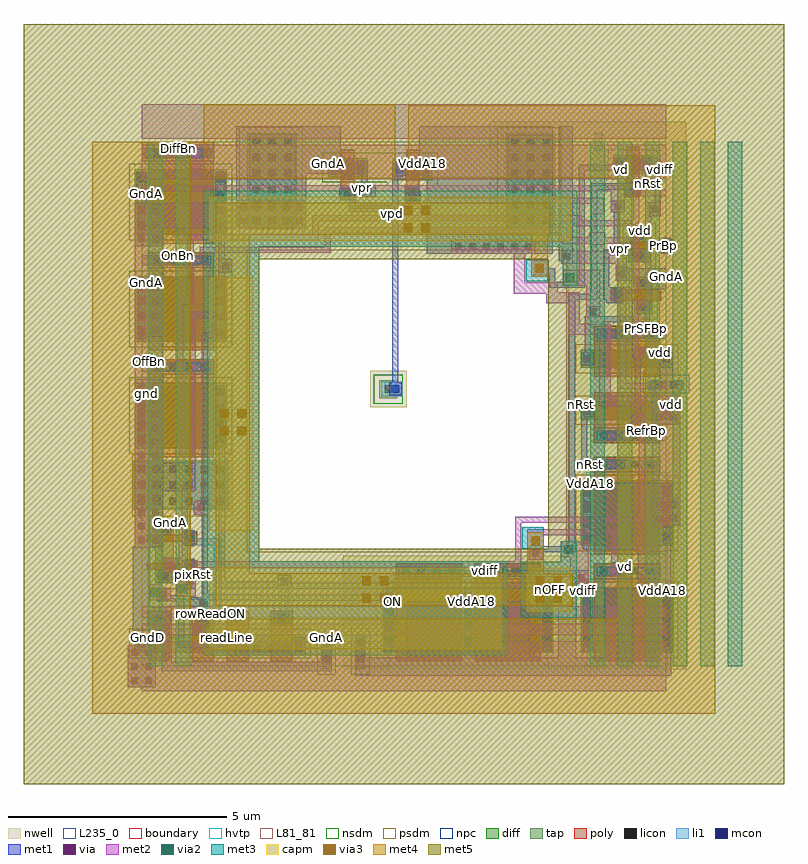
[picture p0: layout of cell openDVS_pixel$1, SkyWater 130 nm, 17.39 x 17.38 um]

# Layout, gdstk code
from math import pi, radians
import gdstk
lib = gdstk.Library(unit=1e-6, precision=1e-09)
def R(c, l, rs):  # rectangles x0, y0, x1, y1
    for r in rs: c.add(gdstk.rectangle(r[:2], r[2:], *l))
def A(c, l, x, y, w, h, nx, ny, dx, dy):  # array of equal rectangles
    R(c, l, [(x+i*dx, y+j*dy, x+i*dx+w, y+j*dy+h) for i in range(nx) for j in range(ny)])
def P(c, l, *ps):  # polygons
    for p in ps: c.add(gdstk.Polygon(p, *l))
nwell = (64, 20)
diff = (65, 20)
tap = (65, 44)
poly = (66, 20)
licon = (66, 44)
li1 = (67, 20)
mcon = (67, 44)
met1 = (68, 20)
via = (68, 44)
met2 = (69, 20)
via2 = (69, 44)
met3 = (70, 20)
via3 = (70, 44)
met4 = (71, 20)
met5 = (72, 20)
hvtp = (78, 44)
L81_81 = (81, 81)
capm = (89, 44)
nsdm = (93, 44)
psdm = (94, 20)
npc = (95, 20)
L235_0 = (235, 0)
boundary = (235, 4)

nfet_6_1 = lib.new_cell('nfet$6$1')
R(nfet_6_1, diff, [(0,0,2.1,1.5)])
R(nfet_6_1, poly, [(0.3,-0.2,1.8,1.7), (0.3,1.7,1.8,2.03)])
A(nfet_6_1, licon, 0.065, 0.125, 0.17, 0.17, 1, 4, 0, 0.36)
A(nfet_6_1, licon, 1.865, 0.125, 0.17, 0.17, 1, 4, 0, 0.36)
A(nfet_6_1, licon, 0.425, 1.78, 0.17, 0.17, 4, 1, 0.36, 0)
R(nfet_6_1, li1, [(0.065,0.045,0.235,1.455), (1.865,0.045,2.035,1.455), (0.345,1.78,1.755,1.95)])
A(nfet_6_1, mcon, 0.065, 0.125, 0.17, 0.17, 1, 4, 0, 0.36)
A(nfet_6_1, mcon, 1.865, 0.125, 0.17, 0.17, 1, 4, 0, 0.36)
A(nfet_6_1, mcon, 0.425, 1.78, 0.17, 0.17, 4, 1, 0.36, 0)
R(nfet_6_1, met1, [(0.035,0.065,0.265,1.435), (1.835,0.065,2.065,1.435), (0.365,1.75,1.735,1.98)])
R(nfet_6_1, nsdm, [(-0.125,-0.125,2.225,1.625)])
R(nfet_6_1, npc, [(0.29,1.69,1.81,2.04)])

pfet_13 = lib.new_cell('pfet$13')
R(pfet_13, nwell, [(-0.305,-0.38,1.205,1.14)])
R(pfet_13, diff, [(0,0,0.9,0.42)])
R(pfet_13, poly, [(0.3,-0.2,0.6,0.62), (0.3,0.62,0.6,0.95)])
R(pfet_13, licon, [(0.065,0.125,0.235,0.295), (0.665,0.125,0.835,0.295), (0.365,0.7,0.535,0.87)])
R(pfet_13, li1, [(0.065,0.045,0.235,0.375), (0.665,0.045,0.835,0.375), (0.285,0.7,0.615,0.87)])
R(pfet_13, mcon, [(0.065,0.125,0.235,0.295), (0.665,0.125,0.835,0.295), (0.365,0.7,0.535,0.87)])
R(pfet_13, met1, [(0.005,0.065,0.295,0.355), (0.605,0.065,0.895,0.355), (0.265,0.67,0.635,0.9)])
R(pfet_13, hvtp, [(0.12,-0.18,0.78,0.6)])
R(pfet_13, psdm, [(-0.125,-0.125,1.025,0.545)])
R(pfet_13, npc, [(0.29,0.61,0.61,0.96)])

pfet_15_1 = lib.new_cell('pfet$15$1')
R(pfet_15_1, nwell, [(-0.305,-0.38,1.155,1.14)])
R(pfet_15_1, diff, [(0,0,0.85,0.42)])
R(pfet_15_1, poly, [(0.3,-0.2,0.55,0.62), (0.29,0.62,0.56,0.95)])
R(pfet_15_1, licon, [(0.065,0.125,0.235,0.295), (0.615,0.125,0.785,0.295), (0.34,0.7,0.51,0.87)])
R(pfet_15_1, li1, [(0.065,0.045,0.235,0.375), (0.615,0.045,0.785,0.375), (0.26,0.7,0.59,0.87)])
R(pfet_15_1, mcon, [(0.065,0.125,0.235,0.295), (0.615,0.125,0.785,0.295), (0.34,0.7,0.51,0.87)])
R(pfet_15_1, met1, [(0.005,0.065,0.295,0.355), (0.555,0.065,0.845,0.355), (0.24,0.67,0.61,0.9)])
R(pfet_15_1, psdm, [(-0.125,-0.125,0.975,0.545)])
R(pfet_15_1, npc, [(0.28,0.61,0.57,0.96)])

contact_3 = lib.new_cell('contact$3')
R(contact_3, tap, [(-0.205,-0.205,0.205,0.205)])
R(contact_3, licon, [(-0.085,-0.085,0.085,0.085)])
R(contact_3, li1, [(-0.165,-0.165,0.165,0.165)])

pfet_8_1 = lib.new_cell('pfet$8$1')
R(pfet_8_1, nwell, [(-0.305,-0.38,1.055,1.22)])
R(pfet_8_1, diff, [(0,0,0.75,0.5)])
R(pfet_8_1, poly, [(0.3,-0.2,0.45,0.7), (0.24,0.7,0.51,1.03)])
R(pfet_8_1, licon, [(0.065,0.165,0.235,0.335), (0.515,0.165,0.685,0.335), (0.29,0.78,0.46,0.95)])
R(pfet_8_1, li1, [(0.065,0.085,0.235,0.415), (0.515,0.085,0.685,0.415), (0.21,0.78,0.54,0.95)])
R(pfet_8_1, mcon, [(0.065,0.165,0.235,0.335), (0.515,0.165,0.685,0.335), (0.29,0.78,0.46,0.95)])
R(pfet_8_1, met1, [(0.005,0.105,0.295,0.395), (0.455,0.105,0.745,0.395), (0.19,0.75,0.56,0.98)])
R(pfet_8_1, psdm, [(-0.125,-0.125,0.875,0.625)])
R(pfet_8_1, npc, [(0.23,0.69,0.52,1.04)])

pfet_10_1 = lib.new_cell('pfet$10$1')
R(pfet_10_1, nwell, [(-0.305,-0.38,2.405,1.14)])
R(pfet_10_1, diff, [(0,0,2.1,0.42)])
R(pfet_10_1, poly, [(0.3,-0.2,1.8,0.62), (0.3,0.62,1.8,0.95)])
A(pfet_10_1, licon, 0.425, 0.7, 0.17, 0.17, 4, 1, 0.36, 0)
R(pfet_10_1, licon, [(0.065,0.125,0.235,0.295), (1.865,0.125,2.035,0.295)])
R(pfet_10_1, li1, [(0.065,0.045,0.235,0.375), (1.865,0.045,2.035,0.375), (0.345,0.7,1.755,0.87)])
A(pfet_10_1, mcon, 0.425, 0.7, 0.17, 0.17, 4, 1, 0.36, 0)
R(pfet_10_1, mcon, [(0.065,0.125,0.235,0.295), (1.865,0.125,2.035,0.295)])
R(pfet_10_1, met1, [(0.005,0.065,0.295,0.355), (1.805,0.065,2.095,0.355), (0.365,0.67,1.735,0.9)])
R(pfet_10_1, psdm, [(-0.125,-0.125,2.225,0.545)])
R(pfet_10_1, npc, [(0.29,0.61,1.81,0.96)])

pfet_12_1 = lib.new_cell('pfet$12$1')
R(pfet_12_1, nwell, [(-0.305,-0.38,2.405,2.22)])
R(pfet_12_1, diff, [(0,0,2.1,1.5)])
R(pfet_12_1, poly, [(0.3,-0.2,1.8,1.7), (0.3,1.7,1.8,2.03)])
A(pfet_12_1, licon, 0.065, 0.125, 0.17, 0.17, 1, 4, 0, 0.36)
A(pfet_12_1, licon, 1.865, 0.125, 0.17, 0.17, 1, 4, 0, 0.36)
A(pfet_12_1, licon, 0.425, 1.78, 0.17, 0.17, 4, 1, 0.36, 0)
R(pfet_12_1, li1, [(0.065,0.045,0.235,1.455), (1.865,0.045,2.035,1.455), (0.345,1.78,1.755,1.95)])
R(pfet_12_1, mcon, [(0.425,1.78,0.595,1.95), (0.785,1.78,0.955,1.95)])
R(pfet_12_1, met1, [(0.365,1.75,1.015,1.98)])
R(pfet_12_1, hvtp, [(0.12,-0.18,1.98,1.68)])
R(pfet_12_1, psdm, [(-0.125,-0.125,2.225,1.625)])
R(pfet_12_1, npc, [(0.29,1.69,1.81,2.04)])

contact_6 = lib.new_cell('contact$6')
R(contact_6, met1, [(-0.16,-0.16,0.16,0.16)])
R(contact_6, via, [(-0.075,-0.075,0.075,0.075)])
R(contact_6, met2, [(-0.16,-0.16,0.16,0.16)])

contact_2_1 = lib.new_cell('contact$2$1')
R(contact_2_1, li1, [(-0.165,-0.165,0.165,0.165)])
R(contact_2_1, mcon, [(-0.085,-0.085,0.085,0.085)])
R(contact_2_1, met1, [(-0.145,-0.145,0.145,0.145)])

contact_pd = lib.new_cell('contact_pd')
R(contact_pd, li1, [(-0.165,-0.165,0.165,0.165)])
R(contact_pd, mcon, [(-0.085,-0.085,0.085,0.085)])
R(contact_pd, met1, [(-0.145,-0.145,0.145,0.145)])

nfet_3 = lib.new_cell('nfet$3')
R(nfet_3, diff, [(0,0,0.9,0.42)])
R(nfet_3, poly, [(0.3,-0.2,0.6,0.62), (0.3,0.62,0.6,0.95)])
R(nfet_3, licon, [(0.065,0.125,0.235,0.295), (0.665,0.125,0.835,0.295), (0.365,0.7,0.535,0.87)])
R(nfet_3, li1, [(0.065,0.045,0.235,0.375), (0.665,0.045,0.835,0.375), (0.285,0.7,0.615,0.87)])
R(nfet_3, mcon, [(0.065,0.125,0.235,0.295), (0.665,0.125,0.835,0.295), (0.365,0.7,0.535,0.87)])
R(nfet_3, met1, [(0.005,0.065,0.295,0.355), (0.605,0.065,0.895,0.355), (0.265,0.67,0.635,0.9)])
R(nfet_3, nsdm, [(-0.125,-0.125,1.025,0.545)])
R(nfet_3, npc, [(0.29,0.61,0.61,0.96)])

contact_4 = lib.new_cell('contact$4')
R(contact_4, met2, [(-0.185,-0.185,0.185,0.185)])
R(contact_4, via2, [(-0.1,-0.1,0.1,0.1)])
R(contact_4, met3, [(-0.185,-0.185,0.185,0.185)])

nfet_11_1 = lib.new_cell('nfet$11$1')
R(nfet_11_1, diff, [(0,0,0.9,0.5)])
R(nfet_11_1, poly, [(0.3,-0.2,0.6,0.7), (0.3,0.7,0.6,1.03)])
R(nfet_11_1, licon, [(0.065,0.165,0.235,0.335), (0.665,0.165,0.835,0.335), (0.365,0.78,0.535,0.95)])
R(nfet_11_1, li1, [(0.065,0.085,0.235,0.415), (0.665,0.085,0.835,0.415), (0.285,0.78,0.615,0.95)])
R(nfet_11_1, mcon, [(0.065,0.165,0.235,0.335), (0.665,0.165,0.835,0.335), (0.365,0.78,0.535,0.95)])
R(nfet_11_1, met1, [(0.005,0.105,0.295,0.395), (0.605,0.105,0.895,0.395), (0.265,0.75,0.635,0.98)])
R(nfet_11_1, nsdm, [(-0.125,-0.125,1.025,0.625)])
R(nfet_11_1, npc, [(0.29,0.69,0.61,1.04)])

contact_5 = lib.new_cell('contact$5')
R(contact_5, met3, [(-0.19,-0.19,0.19,0.19)])
R(contact_5, via3, [(-0.1,-0.1,0.1,0.1)])
R(contact_5, met4, [(-0.19,-0.19,0.19,0.19)])

c_c1 = lib.new_cell('c1')
R(c_c1, met3, [(-0.68,-8.475,7.87,-7.195), (6.585,-7.195,7.87,0), (0.905,0,7.865,2.15)])
R(c_c1, via3, [(2.685,-8.13,2.885,-7.93), (3.085,-8.13,3.285,-7.93), (2.685,-7.73,2.885,-7.53), (3.085,-7.73,3.285,-7.53), (6.89,-3.48,7.09,-3.28), (7.29,-3.48,7.49,-3.28), (6.89,-3.08,7.09,-2.88), (7.29,-3.08,7.49,-2.88), (3.635,0.34,3.835,0.54), (4.035,0.34,4.235,0.54), (3.635,0.74,3.835,0.94), (4.035,0.74,4.235,0.94)])
R(c_c1, met4, [(-0.065,-8.2,2.44,-7.465), (2.62,-8.195,3.35,-7.465), (6.8,-8.145,7.53,-7.415), (6.8,-8.145,7.585,1.005), (6.855,-6.085,7.585,-5.355), (6.825,-3.545,7.555,-2.815), (0.275,0.275,7.585,1.005), (3.57,0.275,4.3,1.005), (0.275,0.285,7.585,1.015)])
P(c_c1, met4, [(2.44,-8.2),(2.44,-7.985),(2.44,-7.73),(2.44,-7.465),(7.585,-7.465),(7.585,-8.2)])
R(c_c1, capm, [(-0.54,-8.335,7.73,-7.335), (6.725,-6.495,7.73,-0.7)])
P(c_c1, capm, [(1.045,0.14),(1.045,0.645),(1.045,2.01),(7.725,2.01),(7.725,0.14)])

c_c2 = lib.new_cell('c2')
R(c_c2, met3, [(0,0,1.28,1.28)])
R(c_c2, via3, [(0.34,0.34,0.54,0.54), (0.74,0.34,0.94,0.54), (0.34,0.74,0.54,0.94), (0.74,0.74,0.94,0.94)])
R(c_c2, met4, [(0.275,0.275,1.005,1.005)])
R(c_c2, capm, [(0.14,0.14,1.14,1.14)])

nfet_2_1 = lib.new_cell('nfet$2$1')
R(nfet_2_1, diff, [(0,0,1.4,0.42)])
R(nfet_2_1, poly, [(0.3,-0.2,0.45,0.62), (0.95,-0.2,1.1,0.62), (0.24,0.62,0.51,0.95), (0.89,0.62,1.16,0.95)])
R(nfet_2_1, licon, [(0.065,0.125,0.235,0.295), (1.165,0.125,1.335,0.295), (0.29,0.7,0.46,0.87), (0.94,0.7,1.11,0.87)])
R(nfet_2_1, li1, [(0.065,0.045,0.235,0.375), (1.165,0.045,1.335,0.375), (0.21,0.7,0.54,0.87), (0.86,0.7,1.19,0.87)])
R(nfet_2_1, mcon, [(0.065,0.125,0.235,0.295), (1.165,0.125,1.335,0.295), (0.29,0.7,0.46,0.87), (0.94,0.7,1.11,0.87)])
R(nfet_2_1, met1, [(0.005,0.065,0.295,0.355), (1.105,0.065,1.395,0.355), (0.19,0.67,0.56,0.9), (0.84,0.67,1.21,0.9)])
R(nfet_2_1, nsdm, [(-0.125,-0.125,1.525,0.545)])
R(nfet_2_1, npc, [(0.23,0.61,0.52,0.96), (0.88,0.61,1.17,0.96)])

nfet_10_1 = lib.new_cell('nfet$10$1')
R(nfet_10_1, diff, [(0,0,2.1,0.42)])
R(nfet_10_1, poly, [(0.3,-0.2,0.8,0.62), (1.3,-0.2,1.8,0.62), (0.3,0.62,0.8,0.95), (1.3,0.62,1.8,0.95)])
R(nfet_10_1, licon, [(0.065,0.125,0.235,0.295), (1.865,0.125,2.035,0.295), (0.465,0.7,0.635,0.87), (1.465,0.7,1.635,0.87)])
R(nfet_10_1, li1, [(0.065,0.045,0.235,0.375), (1.865,0.045,2.035,0.375), (0.385,0.7,0.715,0.87), (1.385,0.7,1.715,0.87)])
R(nfet_10_1, mcon, [(0.065,0.125,0.235,0.295), (1.865,0.125,2.035,0.295), (1.465,0.7,1.635,0.87)])
R(nfet_10_1, met1, [(0.005,0.065,0.295,0.355), (1.805,0.065,2.095,0.355), (1.365,0.67,1.735,0.9)])
R(nfet_10_1, nsdm, [(-0.125,-0.125,2.225,0.545)])
R(nfet_10_1, npc, [(0.29,0.61,0.81,0.96), (1.29,0.61,1.81,0.96)])

contact_12 = lib.new_cell('contact$12')
R(contact_12, li1, [(-0.705,-0.345,0.705,0.345)])
A(contact_12, mcon, -0.625, -0.265, 0.17, 0.17, 4, 2, 0.36, 0.36)
R(contact_12, met1, [(-0.685,-0.325,0.685,0.325)])

contact_10 = lib.new_cell('contact$10')
R(contact_10, met1, [(-0.32,-0.32,0.32,0.32)])
R(contact_10, via, [(-0.235,-0.235,-0.085,-0.085), (0.085,-0.235,0.235,-0.085), (-0.235,0.085,-0.085,0.235), (0.085,0.085,0.235,0.235)])
R(contact_10, met2, [(-0.32,-0.32,0.32,0.32)])

contact_15 = lib.new_cell('contact$15')
R(contact_15, met1, [(-0.32,-1.92,0.32,1.92)])
A(contact_15, via, -0.235, -1.835, 0.15, 0.15, 1, 12, 0, 0.32)
A(contact_15, via, 0.085, -1.835, 0.15, 0.15, 1, 12, 0, 0.32)
R(contact_15, met2, [(-0.32,-1.92,0.32,1.92)])

contact_14 = lib.new_cell('contact$14')
R(contact_14, met1, [(-0.32,-0.64,0.32,0.64)])
A(contact_14, via, -0.235, -0.555, 0.15, 0.15, 1, 4, 0, 0.32)
A(contact_14, via, 0.085, -0.555, 0.15, 0.15, 1, 4, 0, 0.32)
R(contact_14, met2, [(-0.32,-0.64,0.32,0.64)])

contact_16 = lib.new_cell('contact$16')
R(contact_16, met1, [(-0.32,-0.48,0.32,0.48)])
A(contact_16, via, -0.235, -0.395, 0.15, 0.15, 1, 3, 0, 0.32)
A(contact_16, via, 0.085, -0.395, 0.15, 0.15, 1, 3, 0, 0.32)
R(contact_16, met2, [(-0.32,-0.48,0.32,0.48)])

contact_22 = lib.new_cell('contact$22')
R(contact_22, met1, [(-0.8,-0.16,0.8,0.16)])
A(contact_22, via, -0.715, -0.075, 0.15, 0.15, 5, 1, 0.32, 0)
R(contact_22, met2, [(-0.8,-0.16,0.8,0.16)])

contact_18 = lib.new_cell('contact$18')
R(contact_18, met1, [(-0.96,-0.16,0.96,0.16)])
A(contact_18, via, -0.875, -0.075, 0.15, 0.15, 6, 1, 0.32, 0)
R(contact_18, met2, [(-0.96,-0.16,0.96,0.16)])

contact_8 = lib.new_cell('contact$8')
R(contact_8, tap, [(-1.105,-0.565,1.105,0.565)])
A(contact_8, licon, -0.985, -0.445, 0.17, 0.17, 6, 3, 0.36, 0.36)
R(contact_8, li1, [(-1.065,-0.525,1.065,0.525)])

contact_20 = lib.new_cell('contact$20')
R(contact_20, met1, [(-0.8,-0.32,0.8,0.32)])
A(contact_20, via, -0.715, -0.235, 0.15, 0.15, 5, 2, 0.32, 0.32)
R(contact_20, met2, [(-0.8,-0.32,0.8,0.32)])

opendvs_pixel_1 = lib.new_cell('openDVS_pixel$1')
R(opendvs_pixel_1, nwell, [(9.905,0.06,12.615,12.585), (4.775,0.065,5.375,2.665), (5.375,0.065,12.615,2.665), (9.905,4.995,12.615,5.055), (5.385,6.05,6.225,6.89), (11.915,8.02,12.455,9.065), (12,9.065,12.455,11.95), (10.4,9.35,10.915,10.43), (8.12,9.84,9.905,12.585)])
R(opendvs_pixel_1, tap, [(4.305,0.065,4.475,0.875), (5.08,0.065,5.25,0.875), (11.735,6.475,12.545,6.645)])
R(opendvs_pixel_1, poly, [(0.16,11.695,1.81,12.13)])
R(opendvs_pixel_1, licon, [(4.305,0.225,4.475,0.395), (5.08,0.225,5.25,0.395), (4.305,0.585,4.475,0.755), (5.08,0.585,5.25,0.755), (1.475,1.51,1.645,1.68), (11.895,6.475,12.065,6.645), (12.255,6.475,12.425,6.645), (12.075,9.665,12.245,9.835)])
R(opendvs_pixel_1, li1, [(4.305,0.065,4.475,0.875), (4.305,0.065,4.475,0.875), (5.08,0.065,5.25,0.875), (1.295,1.51,1.625,1.68), (11.755,6.475,12.565,6.645), (10.525,11.925,10.695,12.335)])
A(opendvs_pixel_1, mcon, 5.745, 0.635, 0.17, 0.17, 1, 3, 0, 0.36)
A(opendvs_pixel_1, mcon, 7.545, 0.635, 0.17, 0.17, 1, 3, 0, 0.36)
A(opendvs_pixel_1, mcon, 9.345, 0.735, 0.17, 0.17, 1, 3, 0, 0.36)
A(opendvs_pixel_1, mcon, 10.275, 0.735, 0.17, 0.17, 1, 3, 0, 0.36)
A(opendvs_pixel_1, mcon, 12.075, 0.735, 0.17, 0.17, 1, 3, 0, 0.36)
A(opendvs_pixel_1, mcon, 12.075, 3.295, 0.17, 0.17, 1, 3, 0, 0.36)
R(opendvs_pixel_1, mcon, [(4.305,0.225,4.475,0.395), (5.08,0.225,5.25,0.395), (4.305,0.585,4.475,0.755), (5.08,0.585,5.25,0.755), (10.275,3.295,10.445,3.465), (10.275,3.295,10.445,3.465), (10.275,3.655,10.445,3.825), (10.275,3.655,10.445,3.825), (10.275,4.015,10.445,4.185), (10.275,4.015,10.445,4.185), (11.895,6.475,12.065,6.645), (12.255,6.475,12.425,6.645)])
R(opendvs_pixel_1, met1, [(5.05,-0.08,12.275,0.34), (0.16,0.02,0.445,0.37), (0.62,0.02,0.855,0.465), (0.855,0.02,4.385,0.24), (4.275,0.02,4.505,0.47), (5.05,0.125,5.28,0.855), (6.22,0.34,7.515,1.615), (7.515,0.34,7.745,0.48), (7.745,0.34,9.035,1.615), (9.685,0.34,10.105,1.865), (10.76,0.34,12.16,1.915), (12.045,0.34,12.275,0.48), (0.62,0.465,0.855,1.48), (4.275,0.47,4.505,0.84), (5.715,0.48,5.945,1.615), (7.515,0.48,7.745,1.615), (1.305,0.84,1.625,1.1), (-0.045,0.94,0.365,2.86), (-0.045,0.94,0.855,1.48), (1.305,1.1,1.625,1.115), (2.205,1.24,2.525,1.5), (1.275,1.485,1.645,1.715), (5.715,1.615,5.945,1.765), (0.505,1.66,0.825,1.9), (9.315,1.875,9.545,2.045), (11.505,1.875,12.275,2.97), (0.82,2.04,0.985,2.29), (10.245,2.795,12.245,4.33), (10.245,2.97,10.445,4.33), (12.075,2.97,12.275,4.33), (0.045,4.635,0.275,5.18), (11.945,5.295,12.16,5.525), (11.35,5.665,11.67,5.925), (12.015,6.13,12.305,7.02), (11.84,6.305,12.48,6.445), (11.79,6.445,12.14,6.675), (12.14,6.445,12.53,6.675), (0.16,6.865,0.375,7.095), (11.44,7.195,11.76,7.455), (11.945,7.625,12.16,7.855), (10.325,8.11,10.645,8.37), (11.49,8.135,11.78,8.2), (10.79,8.435,11.175,8.805), (11.78,8.75,12.16,9.04), (11,8.945,11.26,9.265), (11,8.945,11.26,9.24), (11.26,8.945,12.16,9.24), (0.16,9.305,0.4,9.535), (9.76,9.34,10.02,9.66), (9.705,9.39,10.02,12.485), (6.685,9.57,7.41,11.35), (7.41,9.57,9.565,12.48), (2.33,10.15,3.93,12.48), (11.775,10.425,12.035,10.745), (10.895,10.515,11.215,10.775), (5.195,10.87,5.515,11.13), (6.175,10.87,6.495,11.13), (6.515,11.35,7.41,12.48), (3.93,11.39,4.715,12.48), (11.84,11.46,11.895,11.75), (4.425,11.68,4.715,11.78), (0.16,11.745,0.375,11.975)])
P(opendvs_pixel_1, met1, [(1.13,1.9),(1.13,2.085),(1.13,2.225),(1.4,2.225),(1.4,1.9)],
  [(9.315,0.48),(9.315,1.875),(9.435,1.875),(9.545,1.875),(9.545,0.48)],
  [(10.25,0.48),(10.25,1.875),(10.365,1.875),(10.48,1.875),(10.48,0.48)],
  [(12.045,0.48),(12.045,1.875),(12.165,1.875),(12.275,1.875),(12.275,0.48)])
R(opendvs_pixel_1, via, [(1.39,0.895,1.54,1.045), (2.29,1.295,2.44,1.445), (0.59,1.695,0.74,1.845), (1.185,1.985,1.335,2.135), (11.435,5.72,11.585,5.87), (11.525,7.25,11.675,7.4), (10.41,8.165,10.56,8.315), (11.055,9.03,11.205,9.18), (9.815,9.425,9.965,9.575), (11.83,10.51,11.98,10.66), (10.98,10.57,11.13,10.72), (5.28,10.925,5.43,11.075), (6.26,10.925,6.41,11.075)])
R(opendvs_pixel_1, met2, [(0.335,1.64,0.615,2.01), (0.505,1.64,0.825,1.925), (0.965,1.72,1.22,2.09), (9.96,2.005,10.385,2.99), (0.985,2.53,1.08,2.61), (0,2.845,0.66,10.73), (11.84,3.99,12.48,5.73), (11.35,5.665,11.67,5.925), (11.44,7.195,11.76,7.455), (10.325,8.11,10.645,8.37), (10.325,8.11,10.645,9.2), (9.815,8.83,10.095,9.2), (9.955,8.83,10.395,9.2), (11,8.945,11.26,9.34), (9.76,9.34,10.02,9.66), (9.76,9.34,10.3,9.635), (10.3,9.34,11.26,9.635), (10.4,9.775,10.77,10.055), (0.66,10.15,3.93,10.73), (11.775,10.425,12.035,10.745), (10.44,10.475,10.725,10.845), (10.895,10.515,11.215,10.795), (10.895,10.795,11.215,11.13), (5.195,10.87,5.515,11.13), (6.175,10.87,6.495,11.13), (0.16,11.27,12.16,12.06), (0.16,12.2,12.16,12.99)])
P(opendvs_pixel_1, met2, [(0.505,1.655),(0.505,1.925),(0.78,1.925),(0.78,1.84),(0.78,1.655)],
  [(1.13,1.72),(1.13,2.22),(1.4,2.22),(1.4,2.12),(1.4,1.72)],
  [(0.16,-0.44),(0.16,0.7),(0.63,0.7),(12.16,0.7),(12.16,0),(12.16,-0.44)])
R(opendvs_pixel_1, via2, [(0.375,1.725,0.575,1.925), (1.005,1.805,1.205,2.005), (9.855,8.915,10.055,9.115)])
R(opendvs_pixel_1, met3, [(9.745,2.52,10.115,2.62), (8.87,2.82,9.36,3.31), (9.79,8.83,10.12,9.725), (8.96,8.935,9.45,9.425)])
R(opendvs_pixel_1, met4, [(-0.965,-0.955,1.285,12.13), (0.155,-0.955,13.285,1.215), (11.035,0.13,13.285,12.96), (8.895,1.515,10.025,2.245), (9.07,9.045,9.445,10.34), (1.585,11.29,5.965,12.97), (6.265,11.3,11.035,12.96)])
P(opendvs_pixel_1, met4, [(8.98,2.125),(8.98,3.2),(9.36,3.2),(9.36,2.125),(9.17,2.125)])
R(opendvs_pixel_1, met5, [(-2.53,-2.56,2.855,14.82), (-2.53,-2.56,14.855,2.82), (9.465,-2.56,14.855,14.82), (0.16,9.44,12.16,14.82)])
R(opendvs_pixel_1, hvtp, [(5.8,0.13,9.46,0.265), (10.33,0.13,12.19,0.265), (11.065,11.225,12.16,12.13), (11.9,11.225,12.16,12.005)])
R(opendvs_pixel_1, L81_81, [(2.57,2.745,9.88,9.66)])
R(opendvs_pixel_1, nsdm, [(4.955,-0.06,5.375,1), (5.475,6.14,6.135,6.8), (11.63,6.375,12.69,6.795), (8.3,9.995,9.755,12.455), (5.445,11.2,5.805,11.87)])
R(opendvs_pixel_1, psdm, [(4.18,-0.06,4.6,1), (-0.05,3.56,2.235,4.99), (11.17,9.17,11.92,9.25), (2.39,9.995,3.84,12.455)])
R(opendvs_pixel_1, npc, [(0.16,11.685,1.82,12.13)])
R(opendvs_pixel_1, L235_0, [(0.16,0.13,12.16,12.13)])
R(opendvs_pixel_1, boundary, [(10.445,0.725,10.51,0.73)])
opendvs_pixel_1.add(gdstk.FlexPath([(1.61,3.655),(1.61,1.485)], 0.14, ends="flush", simple_path=True, layer=68, datatype=20))  # met1
opendvs_pixel_1.add(gdstk.FlexPath([(1.99,10.06),(1.99,9.45)], 0.14, ends="flush", simple_path=True, layer=68, datatype=20))  # met1
opendvs_pixel_1.add(gdstk.FlexPath([(11.025,9.53),(11.025,10.775)], 0.14, ends="flush", simple_path=True, layer=68, datatype=20))  # met1
opendvs_pixel_1.add(gdstk.FlexPath([(10.79,8.51),(10.79,9.6),(11.69,9.6)], 0.14, ends="flush", simple_path=True, layer=68, datatype=20))  # met1
opendvs_pixel_1.add(gdstk.FlexPath([(10.005,7.92),(10.005,8.58),(10.51,8.58),(10.51,11.105),(11.755,11.105)], 0.14, ends="flush", simple_path=True, layer=68, datatype=20))  # met1
opendvs_pixel_1.add(gdstk.FlexPath([(10.23,11.57),(10.23,10.72),(10.23,8.79)], 0.14, ends="flush", simple_path=True, layer=68, datatype=20))  # met1
opendvs_pixel_1.add(gdstk.FlexPath([(10.3,8.86),(9.48,8.86)], 0.14, ends="flush", simple_path=True, layer=68, datatype=20))  # met1
opendvs_pixel_1.add(gdstk.FlexPath([(11.23,11.53),(10.16,11.53)], 0.14, ends="flush", simple_path=True, layer=68, datatype=20))  # met1
opendvs_pixel_1.add(gdstk.FlexPath([(9.55,9.17),(9.55,8.79)], 0.14, ends="flush", simple_path=True, layer=68, datatype=20))  # met1
opendvs_pixel_1.add(gdstk.FlexPath([(9.62,9.16),(9.125,9.16)], 0.14, ends="flush", simple_path=True, layer=68, datatype=20))  # met1
opendvs_pixel_1.add(gdstk.FlexPath([(9.545,1.975),(3.3,1.975)], 0.14, ends="flush", simple_path=True, layer=68, datatype=20))  # met1
opendvs_pixel_1.add(gdstk.FlexPath([(5.945,1.695),(2.895,1.695)], 0.14, ends="flush", simple_path=True, layer=68, datatype=20))  # met1
opendvs_pixel_1.add(gdstk.FlexPath([(2.895,1.695),(2.74,1.695),(2.74,1.71),(1.84,1.71),(1.68,1.71)], 0.14, ends="flush", simple_path=True, layer=68, datatype=20))  # met1
opendvs_pixel_1.add(gdstk.FlexPath([(1.815,0.63),(1.065,0.63),(1.065,1.69),(0.505,1.69)], 0.14, ends="flush", simple_path=True, layer=68, datatype=20))  # met1
opendvs_pixel_1.add(gdstk.FlexPath([(5.94,10.6),(4.985,10.6),(4.985,11.075)], 0.14, ends="flush", simple_path=True, layer=68, datatype=20))  # met1
opendvs_pixel_1.add(gdstk.FlexPath([(-0.04,1.015),(0.245,1.015)], 0.15, ends="flush", simple_path=True, layer=68, datatype=20))  # met1
opendvs_pixel_1.add(gdstk.FlexPath([(5.265,11.68),(5.265,11.005)], 0.14, ends="flush", simple_path=True, layer=68, datatype=20))  # met1
opendvs_pixel_1.add(gdstk.FlexPath([(5.965,11.64),(5.965,6.435)], 0.14, ends="flush", simple_path=True, layer=68, datatype=20))  # met1
opendvs_pixel_1.add(gdstk.FlexPath([(11.51,7.29),(11.51,5.795)], 0.14, ends="flush", simple_path=True, layer=68, datatype=20))  # met1
opendvs_pixel_1.add(gdstk.FlexPath([(10.005,6.06),(10.005,2.805),(9.33,2.805)], 0.14, ends="flush", simple_path=True, layer=68, datatype=20))  # met1
opendvs_pixel_1.add(gdstk.FlexPath([(2,5.18),(2,1.99),(3.575,1.99)], 0.14, ends="flush", simple_path=True, layer=68, datatype=20))  # met1
opendvs_pixel_1.add(gdstk.FlexPath([(6.045,2.255),(10.315,2.255),(10.315,0.48)], 0.14, ends="flush", simple_path=True, layer=68, datatype=20))  # met1
opendvs_pixel_1.add(gdstk.FlexPath([(10.365,7.31),(10.365,8.065),(11.78,8.065)], 0.14, ends="flush", simple_path=True, layer=68, datatype=20))  # met1
opendvs_pixel_1.add(gdstk.FlexPath([(10.285,5.84),(10.285,4.795),(10.575,4.795)], 0.14, ends="flush", simple_path=True, layer=68, datatype=20))  # met1
opendvs_pixel_1.add(gdstk.FlexPath([(11.965,10.425),(11.965,11.75)], 0.14, ends="flush", simple_path=True, layer=68, datatype=20))  # met1
opendvs_pixel_1.add(gdstk.FlexPath([(12.16,1.875),(12.16,2.97)], 0.15, ends="flush", simple_path=True, layer=68, datatype=20))  # met1
opendvs_pixel_1.add(gdstk.FlexPath([(10.005,7.92),(10.005,7.015),(10.005,6.75)], 0.14, ends="flush", simple_path=True, layer=68, datatype=20))  # met1
opendvs_pixel_1.add(gdstk.FlexPath([(10.005,6.75),(10.005,6.06),(10.215,6.06)], 0.14, ends="flush", simple_path=True, layer=68, datatype=20))  # met1
opendvs_pixel_1.add(gdstk.FlexPath([(1.295,1.595),(0.64,1.595),(0.64,1.305)], 0.17, ends="flush", simple_path=True, layer=67, datatype=20))  # li1
opendvs_pixel_1.add(gdstk.FlexPath([(1.725,1.23),(1.9,1.23),(1.9,2.98),(1.345,2.98)], 0.17, ends="flush", simple_path=True, layer=67, datatype=20))  # li1
opendvs_pixel_1.add(gdstk.FlexPath([(3.44,1.905),(3.44,1.305)], 0.17, ends="flush", simple_path=True, layer=67, datatype=20))  # li1
opendvs_pixel_1.add(gdstk.FlexPath([(0.475,0.13),(0.475,12.13)], 0.33, ends="flush", simple_path=True, layer=70, datatype=20))  # met3
opendvs_pixel_1.add(gdstk.FlexPath([(1.105,0.13),(1.105,12.13)], 0.33, ends="flush", simple_path=True, layer=70, datatype=20))  # met3
opendvs_pixel_1.add(gdstk.FlexPath([(10.585,12.13),(10.585,0.13)], 0.33, ends="flush", simple_path=True, layer=70, datatype=20))  # met3
opendvs_pixel_1.add(gdstk.FlexPath([(11.215,12.13),(11.215,0.13)], 0.33, ends="flush", simple_path=True, layer=70, datatype=20))  # met3
opendvs_pixel_1.add(gdstk.FlexPath([(11.845,12.13),(11.845,0.13)], 0.33, ends="flush", simple_path=True, layer=70, datatype=20))  # met3
opendvs_pixel_1.add(gdstk.FlexPath([(12.475,12.13),(12.475,0.13)], 0.33, ends="flush", simple_path=True, layer=70, datatype=20))  # met3
opendvs_pixel_1.add(gdstk.FlexPath([(13.105,12.13),(13.105,0.13)], 0.33, ends="flush", simple_path=True, layer=70, datatype=20))  # met3
opendvs_pixel_1.add(gdstk.FlexPath([(13.735,12.13),(13.735,0.13)], 0.33, ends="flush", simple_path=True, layer=70, datatype=20))  # met3
opendvs_pixel_1.add(gdstk.FlexPath([(6.37,10.66),(6.705,10.66),(6.705,10.78),(10.725,10.78)], 0.14, ends="flush", simple_path=True, layer=69, datatype=20))  # met2
opendvs_pixel_1.add(gdstk.FlexPath([(10.855,9.87),(11.47,9.87),(11.47,8.735),(11.17,8.735),(11.17,7.4)], 0.14, ends="flush", simple_path=True, layer=69, datatype=20))  # met2
opendvs_pixel_1.add(gdstk.FlexPath([(1.56,9.73),(1.56,9.305)], 0.14, ends="flush", simple_path=True, layer=69, datatype=20))  # met2
opendvs_pixel_1.add(gdstk.FlexPath([(11.75,9.66),(11.75,9.985),(11.75,10.745)], 0.14, ends="flush", simple_path=True, layer=69, datatype=20))  # met2
opendvs_pixel_1.add(gdstk.FlexPath([(11.75,9.66),(11.75,8.455),(11.45,8.455),(11.45,7.195)], 0.14, ends="flush", simple_path=True, layer=69, datatype=20))  # met2
opendvs_pixel_1.add(gdstk.FlexPath([(11.47,10.195),(11.47,10.955),(12.16,10.955)], 0.14, ends="flush", simple_path=True, layer=69, datatype=20))  # met2
opendvs_pixel_1.add(gdstk.FlexPath([(10.425,10.265),(11.54,10.265)], 0.14, ends="flush", simple_path=True, layer=69, datatype=20))  # met2
opendvs_pixel_1.add(gdstk.FlexPath([(10.425,10.265),(10.115,10.265),(10.115,10.38),(10.23,10.38)], 0.14, ends="flush", simple_path=True, layer=69, datatype=20))  # met2
opendvs_pixel_1.add(gdstk.FlexPath([(4.49,9.66),(1.61,9.66)], 0.14, ends="flush", simple_path=True, layer=69, datatype=20))  # met2
opendvs_pixel_1.add(gdstk.FlexPath([(1.38,8.165),(1.645,8.165),(1.99,8.165),(1.99,9.45)], 0.14, ends="flush", simple_path=True, layer=69, datatype=20))  # met2
opendvs_pixel_1.add(gdstk.FlexPath([(5.335,11.06),(11.215,11.06)], 0.14, ends="flush", simple_path=True, layer=69, datatype=20))  # met2
opendvs_pixel_1.add(gdstk.FlexPath([(6.37,10.66),(4.98,10.66),(4.98,11.06),(0.16,11.06)], 0.14, ends="flush", simple_path=True, layer=69, datatype=20))  # met2
opendvs_pixel_1.add(gdstk.FlexPath([(9.545,8.43),(9.545,8.78),(8.805,8.78),(8.805,9.7),(7.355,9.7)], 0.26, ends="flush", simple_path=True, layer=69, datatype=20))  # met2
opendvs_pixel_1.add(gdstk.FlexPath([(4.42,9.59),(4.42,10.17)], 0.14, ends="flush", simple_path=True, layer=69, datatype=20))  # met2
opendvs_pixel_1.add(gdstk.FlexPath([(4.07,10.38),(4.77,10.38)], 0.14, ends="flush", simple_path=True, layer=69, datatype=20))  # met2
opendvs_pixel_1.add(gdstk.FlexPath([(4.14,10.39),(4.14,9.87)], 0.14, ends="flush", simple_path=True, layer=69, datatype=20))  # met2
opendvs_pixel_1.add(gdstk.FlexPath([(4.21,9.94),(1.21,9.94)], 0.14, ends="flush", simple_path=True, layer=69, datatype=20))  # met2
opendvs_pixel_1.add(gdstk.FlexPath([(1.28,9.93),(1.28,9.115)], 0.14, ends="flush", simple_path=True, layer=69, datatype=20))  # met2
opendvs_pixel_1.add(gdstk.FlexPath([(4.63,10.38),(10.23,10.38)], 0.14, ends="flush", simple_path=True, layer=69, datatype=20))  # met2
opendvs_pixel_1.add(gdstk.FlexPath([(10.855,9.87),(9.83,9.87),(9.83,9.97),(9.83,10.17)], 0.14, ends="flush", simple_path=True, layer=69, datatype=20))  # met2
opendvs_pixel_1.add(gdstk.FlexPath([(4.465,10.1),(5.425,10.1),(9.9,10.1)], 0.14, ends="flush", simple_path=True, layer=69, datatype=20))  # met2
opendvs_pixel_1.add(gdstk.FlexPath([(11.17,7.4),(11.17,7.205),(11.17,6.535),(12.16,6.535)], 0.14, ends="flush", simple_path=True, layer=69, datatype=20))  # met2
opendvs_pixel_1.add(gdstk.FlexPath([(9.545,8.78),(9.545,8.56),(10.055,8.56),(10.055,7.84),(10.76,7.84),(10.76,6.195),(12.35,6.195),(12.35,6.19)], 0.26, ends="flush", simple_path=True, layer=69, datatype=20))  # met2
opendvs_pixel_1.add(gdstk.FlexPath([(10.975,3.19),(10.975,2.195)], 0.14, ends="flush", simple_path=True, layer=69, datatype=20))  # met2
opendvs_pixel_1.add(gdstk.FlexPath([(11.045,3.2),(8.985,3.2)], 0.14, ends="flush", simple_path=True, layer=69, datatype=20))  # met2
opendvs_pixel_1.add(gdstk.FlexPath([(12.16,1.37),(0.16,1.37)], 0.26, ends="flush", simple_path=True, layer=69, datatype=20))  # met2
opendvs_pixel_1.add(gdstk.FlexPath([(12.16,0.97),(0.16,0.97)], 0.26, ends="flush", simple_path=True, layer=69, datatype=20))  # met2
opendvs_pixel_1.add(gdstk.FlexPath([(1.28,9.115),(1.28,8.47),(1.05,8.47),(1.05,6.96)], 0.14, ends="flush", simple_path=True, layer=69, datatype=20))  # met2
opendvs_pixel_1.add(gdstk.FlexPath([(10.955,3.48),(8.775,3.48),(8.775,2.39)], 0.14, ends="flush", simple_path=True, layer=69, datatype=20))  # met2
opendvs_pixel_1.add(gdstk.FlexPath([(0.665,2.46),(8.845,2.46)], 0.14, ends="flush", simple_path=True, layer=69, datatype=20))  # met2
opendvs_pixel_1.add(gdstk.FlexPath([(11.6,5.73),(11.6,3.48),(10.955,3.48)], 0.14, ends="flush", simple_path=True, layer=69, datatype=20))  # met2
opendvs_pixel_1.add(gdstk.FlexPath([(1.33,8.235),(1.33,6.98)], 0.14, ends="flush", simple_path=True, layer=69, datatype=20))  # met2
opendvs_pixel_1.add(gdstk.FlexPath([(1.33,6.98),(1.33,4.2),(1.15,4.2),(1.15,2.53)], 0.14, ends="flush", simple_path=True, layer=69, datatype=20))  # met2
opendvs_pixel_1.add(gdstk.FlexPath([(1.61,3.6),(1.61,7.69),(1.97,7.69)], 0.14, ends="flush", simple_path=True, layer=69, datatype=20))  # met2
opendvs_pixel_1.add(gdstk.Reference(nfet_6_1, (0.01,7.555)))
opendvs_pixel_1.add(gdstk.Reference(nfet_6_1, (0.01,5.115)))
opendvs_pixel_1.add(gdstk.Reference(pfet_13, (11.845,11.815), rotation=pi))
opendvs_pixel_1.add(gdstk.Reference(pfet_15_1, (11.845,8.195), rotation=pi/2))
opendvs_pixel_1.add(gdstk.Reference(contact_3, (5.805,6.47)))
opendvs_pixel_1.add(gdstk.Reference(pfet_8_1, (11.295,10.125), rotation=3*pi/2))
opendvs_pixel_1.add(gdstk.Reference(pfet_10_1, (12.31,6.195), rotation=pi))
opendvs_pixel_1.add(gdstk.Reference(pfet_10_1, (10.21,6.955)))
opendvs_pixel_1.add(gdstk.Reference(pfet_12_1, (10.21,2.885)))
opendvs_pixel_1.add(gdstk.Reference(contact_6, (0.825,2.45)))
opendvs_pixel_1.add(gdstk.Reference(contact_2_1, (3.43,2.07)))
opendvs_pixel_1.add(gdstk.Reference(contact_pd, (5.97,6.47)))
opendvs_pixel_1.add(gdstk.Reference(nfet_3, (4.42,11.745), x_reflection=True))
opendvs_pixel_1.add(gdstk.Reference(contact_4, (9.17,3.005)))
opendvs_pixel_1.add(gdstk.Reference(nfet_11_1, (5.91,11.745), x_reflection=True))
opendvs_pixel_1.add(gdstk.Reference(contact_5, (9.17,3.01)))
opendvs_pixel_1.add(gdstk.Reference(contact_6, (9.17,2.725)))
opendvs_pixel_1.add(gdstk.Reference(contact_6, (1.915,7.78)))
opendvs_pixel_1.add(gdstk.Reference(contact_6, (1.52,3.76)))
opendvs_pixel_1.add(gdstk.Reference(contact_4, (9.26,9.235)))
opendvs_pixel_1.add(gdstk.Reference(contact_5, (9.26,9.235)))
opendvs_pixel_1.add(gdstk.Reference(contact_6, (9.285,9.25)))
opendvs_pixel_1.add(gdstk.Reference(c_c1, (9.44,2.53), rotation=pi))
opendvs_pixel_1.add(gdstk.Reference(contact_6, (10.225,2.165)))
opendvs_pixel_1.add(gdstk.Reference(pfet_12_1, (10.21,0.445)))
opendvs_pixel_1.add(gdstk.Reference(contact_6, (2.08,9.29)))
opendvs_pixel_1.add(gdstk.Reference(c_c2, (10.115,2.52), rotation=pi))
opendvs_pixel_1.add(gdstk.Reference(nfet_6_1, (0.01,9.995)))
opendvs_pixel_1.add(gdstk.Reference(contact_4, (9.93,2.805)))
opendvs_pixel_1.add(gdstk.Reference(contact_6, (11.065,2.355)))
opendvs_pixel_1.add(gdstk.Reference(nfet_2_1, (0.475,3.435), rotation=3*pi/2))
opendvs_pixel_1.add(gdstk.Reference(nfet_10_1, (0.01,0.445)))
opendvs_pixel_1.add(gdstk.Reference(nfet_10_1, (1.81,0.445)))
opendvs_pixel_1.add(gdstk.Reference(pfet_12_1, (5.68,0.445)))
opendvs_pixel_1.add(gdstk.Reference(pfet_12_1, (7.48,0.445)))
opendvs_pixel_1.add(gdstk.Reference(contact_12, (0.7,4.46)))
opendvs_pixel_1.add(gdstk.Reference(contact_10, (12.16,5.985), rotation=pi))
opendvs_pixel_1.add(gdstk.Reference(contact_10, (12.16,3.67), rotation=pi))
opendvs_pixel_1.add(gdstk.Reference(contact_15, (0.32,4.78)))
opendvs_pixel_1.add(gdstk.Reference(contact_14, (0.32,8.31)))
opendvs_pixel_1.add(gdstk.Reference(contact_16, (0.32,10.22)))
opendvs_pixel_1.add(gdstk.Reference(contact_22, (3.105,0.54)))
opendvs_pixel_1.add(gdstk.Reference(contact_18, (8.205,9.73)))
opendvs_pixel_1.add(gdstk.Reference(contact_8, (3.145,11.23), rotation=pi/2))
opendvs_pixel_1.add(gdstk.Reference(contact_20, (3.13,10.47)))
opendvs_pixel_1.add(gdstk.Reference(contact_8, (9.055,11.225), rotation=pi/2))
opendvs_pixel_1.add(gdstk.Reference(contact_8, (3.145,11.23), rotation=pi/2))
opendvs_pixel_1.add(gdstk.Reference(contact_8, (1.06,4.275)))
opendvs_pixel_1.add(gdstk.Reference(contact_16, (0.16,0.13)))
opendvs_pixel_1.add(gdstk.Label('GndA', (12.16,9.035), layer=68, texttype=5))
opendvs_pixel_1.add(gdstk.Label('vpr', (11.1,9.675), layer=68, texttype=5))
opendvs_pixel_1.add(gdstk.Label('GndA', (4.385,0.79), layer=68, texttype=5))
opendvs_pixel_1.add(gdstk.Label('GndA', (0.815,3.43), layer=68, texttype=5))
opendvs_pixel_1.add(gdstk.Label('GndA', (0.275,8.905), layer=68, texttype=5))
opendvs_pixel_1.add(gdstk.Label('GndA', (0.275,10.955), layer=68, texttype=5))
opendvs_pixel_1.add(gdstk.Label('GndA', (4.445,11.63), layer=68, texttype=5))
opendvs_pixel_1.add(gdstk.Label('VddA18', (12.075,1.875), layer=68, texttype=5))
opendvs_pixel_1.add(gdstk.Label('VddA18', (7.715,1.615), layer=68, texttype=5))
opendvs_pixel_1.add(gdstk.Label('VddA18', (6.595,11.63), layer=68, texttype=5))
opendvs_pixel_1.add(gdstk.Label('VddA18', (10.43,4.305), layer=68, texttype=5))
opendvs_pixel_1.add(gdstk.Label('vd', (11.22,2.41), layer=68, texttype=5))
opendvs_pixel_1.add(gdstk.Label('vpr', (5.195,11.09), layer=68, texttype=5))
opendvs_pixel_1.add(gdstk.Label('vpd', (5.9,10.48), layer=68, texttype=5))
opendvs_pixel_1.add(gdstk.Label('pixRst', (1.355,2.23), layer=68, texttype=5))
opendvs_pixel_1.add(gdstk.Label('nOFF', (9.515,1.895), layer=68, texttype=5))
opendvs_pixel_1.add(gdstk.Label('ON', (5.895,1.615), layer=68, texttype=5))
opendvs_pixel_1.add(gdstk.Label('readLine', (2.105,0.79), layer=68, texttype=5))
opendvs_pixel_1.add(gdstk.Label('GndD', (3.905,0.79), layer=68, texttype=5))
opendvs_pixel_1.add(gdstk.Label('GndD', (0.305,0.79), layer=68, texttype=5))
opendvs_pixel_1.add(gdstk.Label('vdiff', (10.255,1.865), layer=68, texttype=5))
opendvs_pixel_1.add(gdstk.Label('OffBn', (0.345,7.095), layer=68, texttype=5))
opendvs_pixel_1.add(gdstk.Label('PrBp', (12.095,9.765), layer=68, texttype=5))
opendvs_pixel_1.add(gdstk.Label('vdd', (11.575,10.105), layer=68, texttype=5))
opendvs_pixel_1.add(gdstk.Label('nRst', (11.745,11.175), layer=68, texttype=5))
opendvs_pixel_1.add(gdstk.Label('vdd', (12.035,7.31), layer=68, texttype=5))
opendvs_pixel_1.add(gdstk.Label('RefrBp', (11.7,5.525), layer=68, texttype=5))
opendvs_pixel_1.add(gdstk.Label('nRst', (0.815,2.05), layer=68, texttype=5))
opendvs_pixel_1.add(gdstk.Label('rowReadON', (1.365,3.245), layer=68, texttype=5))
opendvs_pixel_1.add(gdstk.Label('rowReadON', (1.745,1.335), layer=68, texttype=5))
opendvs_pixel_1.add(gdstk.Label('rowReadOFF', (2.545,1.335), layer=68, texttype=5))
opendvs_pixel_1.add(gdstk.Label('OffBn', (1.015,7.095), layer=68, texttype=5))
opendvs_pixel_1.add(gdstk.Label('OnBn', (1.015,9.535), layer=68, texttype=5))
opendvs_pixel_1.add(gdstk.Label('DiffBn', (1.015,11.975), layer=68, texttype=5))
opendvs_pixel_1.add(gdstk.Label('gnd', (0.275,6.36), layer=68, texttype=5))
opendvs_pixel_1.add(gdstk.Label('vdd', (12.275,7.31), layer=68, texttype=5))
opendvs_pixel_1.add(gdstk.Label('vdiff', (8.005,2.325), layer=68, texttype=5))
opendvs_pixel_1.add(gdstk.Label('PrBp', (12.055,9.935), layer=68, texttype=5))
opendvs_pixel_1.add(gdstk.Label('vdiff', (12.015,11.5), layer=68, texttype=5))
opendvs_pixel_1.add(gdstk.Label('vd', (11.135,11.5), layer=68, texttype=5))
opendvs_pixel_1.add(gdstk.Label('nRst', (10.22,6.13), layer=68, texttype=5))
opendvs_pixel_1.add(gdstk.Label('vdd', (12.275,6.13), layer=68, texttype=5))
opendvs_pixel_1.add(gdstk.Label('vdd', (12.14,7.2), layer=68, texttype=5))
opendvs_pixel_1.add(gdstk.Label('PrSFBp', (11.7,7.85), layer=68, texttype=5))
opendvs_pixel_1.add(gdstk.Label('nRst', (10.43,4.75), layer=68, texttype=5))

lib.write_gds('openDVS_pixel_1.gds')
